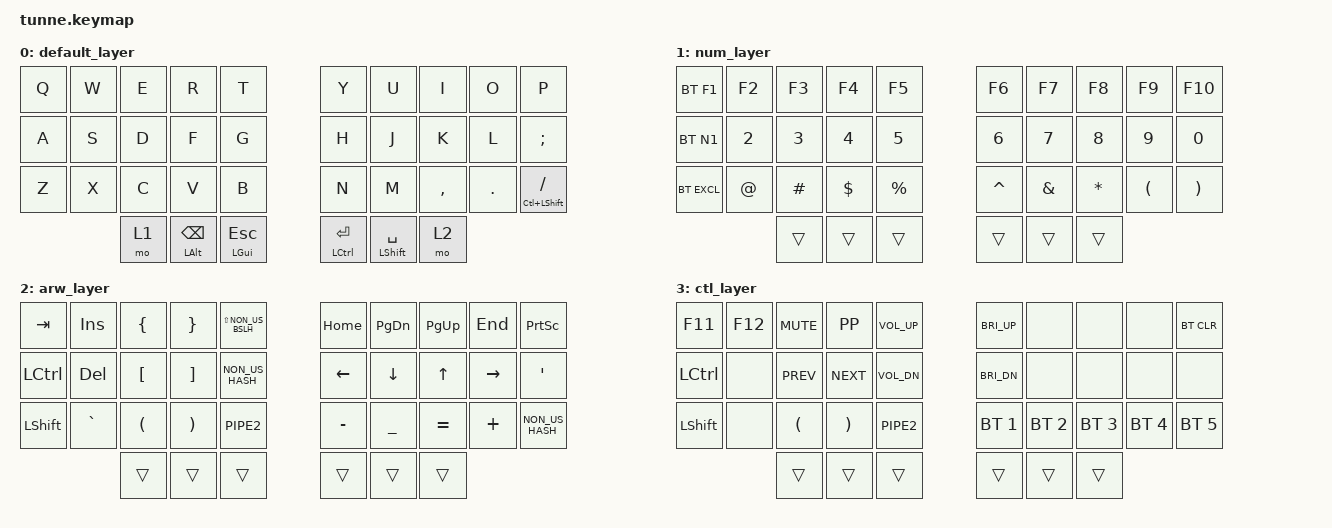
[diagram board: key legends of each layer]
#include <behaviors.dtsi>
#include <dt-bindings/zmk/keys.h>
#include <dt-bindings/zmk/bt.h>

&mt {
  tapping-term-ms = <200>;
  quick-tap-ms = <200>;
};

/ {
  conditional_layers {
    compatible = "zmk,conditional-layers";
    tri_layer {
      if-layers = <1 2>;
      then-layer = <3>;
    };
  };
  keymap {
    compatible = "zmk,keymap";
    default_layer {
      bindings = <
        &kp Q &kp W &kp E &kp R         &kp T        &kp Y           &kp U           &kp I     &kp O   &kp P
        &kp A &kp S &kp D &kp F         &kp G        &kp H           &kp J           &kp K     &kp L   &kp SEMI
        &kp Z &kp X &kp C &kp V         &kp B        &kp N           &kp M           &kp COMMA &kp DOT &mt LC(LSHFT) FSLH
                    &mo 1 &mt LALT BSPC &mt LGUI ESC &mt LCTRL ENTER &mt LSHFT SPACE &mo 2
      >;
    };

    num_layer {
      bindings = <
        &bt F1   &kp F2 &kp F3   &kp F4   &kp F5    &kp F6    &kp F7   &kp F8   &kp F9   &kp F10
        &bt N1   &kp N2 &kp N3   &kp N4   &kp N5    &kp N6    &kp N7   &kp N8   &kp N9   &kp N0
        &bt EXCL &kp AT &kp HASH &kp DLLR &kp PRCNT &kp CARET &kp AMPS &kp STAR &kp LPAR &kp RPAR
                        &trans   &trans   &trans    &trans    &trans   &trans
      >;
    };

    arw_layer {
      bindings = <
        &kp TAB   &kp INS   &kp LBRC &kp RBRC &kp LS(NON_US_BSLH) &kp HOME  &kp PG_DN &kp PG_UP &kp END   &kp PSCRN
        &kp LCTRL &kp DEL   &kp LBKT &kp RBKT &kp NON_US_HASH     &kp LEFT  &kp DOWN  &kp UP    &kp RIGHT &kp SQT
        &kp LSHFT &kp GRAVE &kp LPAR &kp RPAR &kp PIPE2           &kp MINUS &kp UNDER &kp EQUAL &kp PLUS  &kp NON_US_HASH
                            &trans   &trans   &trans              &trans    &trans    &trans
      >;
    };

    ctl_layer {
      bindings = <
        &kp F11   &kp F12 &kp K_MUTE &kp K_PP   &kp K_VOL_UP &kp C_BRI_UP &none        &none        &none        &bt BT_CLR
        &kp LCTRL &none   &kp K_PREV &kp K_NEXT &kp K_VOL_DN &kp C_BRI_DN &none        &none        &none        &none
        &kp LSHFT &none   &kp LPAR   &kp RPAR   &kp PIPE2    &bt BT_SEL 1 &bt BT_SEL 2 &bt BT_SEL 3 &bt BT_SEL 4 &bt BT_SEL 5
                          &trans     &trans     &trans       &trans       &trans       &trans
      >;
    };
  };
};
